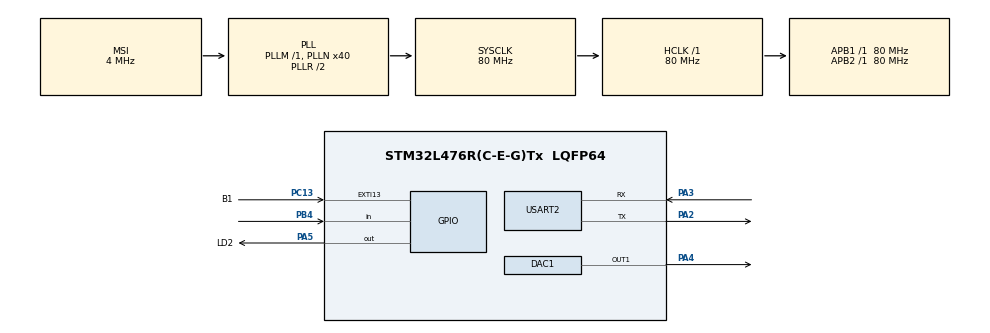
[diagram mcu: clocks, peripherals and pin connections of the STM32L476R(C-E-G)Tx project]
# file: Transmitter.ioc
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DAC1.DAC_Trigger-DAC_OUT1=DAC_TRIGGER_T7_TRGO
Dma.DAC_CH1.0.Direction=DMA_MEMORY_TO_PERIPH
Dma.DAC_CH1.0.Instance=DMA1_Channel3
Dma.DAC_CH1.0.MemDataAlignment=DMA_MDATAALIGN_HALFWORD
Dma.DAC_CH1.0.MemInc=DMA_MINC_ENABLE
Dma.DAC_CH1.0.Mode=DMA_CIRCULAR
Dma.DAC_CH1.0.PeriphDataAlignment=DMA_PDATAALIGN_HALFWORD
Dma.DAC_CH1.0.PeriphInc=DMA_PINC_DISABLE
Dma.DAC_CH1.0.Priority=DMA_PRIORITY_HIGH
Dma.Request0=DAC_CH1
Mcu.Family=STM32L4
Mcu.Name=STM32L476R(C-E-G)Tx
Mcu.Package=LQFP64
NVIC.DMA1_Channel3_IRQn=true\:0\:0\:false\:false\:true\:false\:true\:true
NVIC.EXTI15_10_IRQn=true\:0\:0\:false\:false\:true\:true\:true\:true
NVIC.PriorityGroup=NVIC_PRIORITYGROUP_4
NVIC.TIM6_DAC_IRQn=true\:2\:0\:true\:false\:true\:true\:true\:true
PA13\ (JTMS-SWDIO).Mode=Serial_Wire
PA13\ (JTMS-SWDIO).Signal=SYS_JTMS-SWDIO
PA14\ (JTCK-SWCLK).Mode=Serial_Wire
PA14\ (JTCK-SWCLK).Signal=SYS_JTCK-SWCLK
PA2.Mode=Asynchronous
PA2.Signal=USART2_TX
PA3.Mode=Asynchronous
PA3.Signal=USART2_RX
PA4.Signal=COMP_DAC11_group
PA5.GPIO_Label=LD2
PA5.Signal=GPIO_Output
PB4\ (NJTRST).Signal=GPIO_Input
PC13.GPIO_Label=B1
PC13.GPIO_ModeDefaultEXTI=GPIO_MODE_IT_FALLING
PC13.GPIO_PuPd=GPIO_PULLUP
PC13.Signal=GPXTI13
PC14-OSC32_IN\ (PC14).Mode=LSE-External-Oscillator
PC14-OSC32_IN\ (PC14).Signal=RCC_OSC32_IN
PC15-OSC32_OUT\ (PC15).Mode=LSE-External-Oscillator
PC15-OSC32_OUT\ (PC15).Signal=RCC_OSC32_OUT
ProjectManager.HeapSize=0x200
ProjectManager.StackSize=0x400
ProjectManager.TargetToolchain=STM32CubeIDE
RCC.ADCFreq_Value=16000000
RCC.AHBFreq_Value=80000000
RCC.APB1Freq_Value=80000000
RCC.APB1TimFreq_Value=80000000
RCC.APB2Freq_Value=80000000
RCC.APB2TimFreq_Value=80000000
RCC.CortexFreq_Value=80000000
RCC.HCLKFreq_Value=80000000
RCC.HSE_VALUE=8000000
RCC.HSI_VALUE=16000000
RCC.MSI_VALUE=4000000
RCC.PLLN=40
RCC.PREFETCH_ENABLE=1
RCC.SYSCLKFreq_VALUE=80000000
RCC.SYSCLKSource=RCC_SYSCLKSOURCE_PLLCLK
RCC.USBFreq_Value=16000000
RCC.VCOOutputFreq_Value=160000000
SH.COMP_DAC11_group.0=DAC1_OUT1,DAC_OUT1
TIM6.Period=399
TIM6.Prescaler=9999
TIM7.Period=399
TIM7.TIM_MasterOutputTrigger=TIM_TRGO_UPDATE
USART2.VirtualMode-Asynchronous=VM_ASYNC
VP_TIM6_VS_ClockSourceINT.Mode=Enable_Timer
VP_TIM7_VS_ClockSourceINT.Mode=Enable_Timer
board=NUCLEO-L476RG

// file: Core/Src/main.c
/* USER CODE BEGIN Header */
/**
 ******************************************************************************
 * @file           : main.c
 * @brief          : IBC transmitter (BFSK/OOK)
 ******************************************************************************
 *
 * BER_TEST_MODE: 1 = BER stream (PRBS-9 + Barker-13), 0 = packet mode.
 * BPS_MODE 20/40/100, MOD_MODE 0 = BFSK / 1 = OOK. Same values on RX.
 *
 * NUCLEO-L476RG @ 80 MHz. DAC1 OUT1 (PA4) -> signal electrode, GND ->
 * return electrode. TIM7 200 kHz DAC trigger, TIM6 bit timer, USART2 log.
 *
 ******************************************************************************
 */
/* USER CODE END Header */
#include "main.h"

/* USER CODE BEGIN Includes */
#include <stdio.h>
#include <math.h>
#include <string.h>
/* USER CODE END Includes */

/* USER CODE BEGIN PD */
/* 1 = BER stream, 0 = packet mode */
#define BER_TEST_MODE   0

/* 1 = idle power bench (signal chain off, WFI) */
#ifndef POWER_IDLE_TEST
#define POWER_IDLE_TEST 0
#endif

#define PKT_TEST_COUNT     100u   /* frames per run */
#define PKT_GLUCOSE_MGDL   120u   /* payload, mg/dL */

/* bit rate: 20, 40 or 100 bps (same on RX) */
#ifndef BPS_MODE
#define BPS_MODE 20
#endif

/* 0 = BFSK (10/20 kHz), 1 = OOK (20 kHz, off = mid-scale) */
#ifndef MOD_MODE
#define MOD_MODE 1
#endif
#if MOD_MODE != 0 && MOD_MODE != 1
#error "MOD_MODE must be 0 (BFSK) or 1 (OOK)"
#endif

#if BPS_MODE == 20
  #define TIM6_PSC      9999u
  #define TIM6_ARR      399u    /* 10000*400 / 80MHz = 50.00 ms/bit -> 20 bps */
  #define BIT_PERIOD_US 50000u
#elif BPS_MODE == 40
  #define TIM6_PSC      9999u
  #define TIM6_ARR      199u    /* 10000*200 / 80MHz = 25.00 ms/bit -> 40 bps */
  #define BIT_PERIOD_US 25000u
#elif BPS_MODE == 100
  #define TIM6_PSC      9999u
  #define TIM6_ARR      79u     /* 10000*80 / 80MHz = 10.00 ms/bit -> 100 bps */
  #define BIT_PERIOD_US 10000u
#else
  #error "Unsupported BPS_MODE: choose 20, 40 or 100"
#endif

#define FS_DAC          200000u
#define F0              10000u
#define F1              20000u

#define SINE10_SAMPLES  (FS_DAC / F0)
#define SINE20_SAMPLES  (FS_DAC / F1)

static uint16_t sine10k[SINE10_SAMPLES];
static uint16_t sine20k[SINE20_SAMPLES];

/* 40 = integer periods of both tones -> phase-continuous swaps */
#define DMA_BUF_LEN     40u

static uint16_t dac_buf_10k[DMA_BUF_LEN];
static uint16_t dac_buf_20k[DMA_BUF_LEN];
#if MOD_MODE == 1
static uint16_t dac_buf_flat[DMA_BUF_LEN];  /* OOK carrier off */
#endif
static uint16_t dac_live[DMA_BUF_LEN];      /* DAC DMA source */
/* USER CODE END PD */

DAC_HandleTypeDef hdac1;
DMA_HandleTypeDef hdma_dac_ch1;

TIM_HandleTypeDef htim6;
TIM_HandleTypeDef htim7;

UART_HandleTypeDef huart2;

/* USER CODE BEGIN PV */
static volatile uint8_t tx_bit_level         = 1;
static volatile uint8_t tx_bit_level_applied = 1;

typedef enum {
    TX_IDLE,
    TX_IDLE1, TX_IDLE2, TX_IDLE3, TX_IDLE4,
    TX_START1, TX_START2,
    TX_DATA,
    TX_STOP1, TX_STOP2,
    TX_GAP1, TX_GAP2, TX_GAP3, TX_GAP4, TX_GAP5, TX_GAP6
} tx_state_t;

static volatile tx_state_t tx_st    = TX_IDLE;
static volatile uint8_t    tx_active  = 0;
static volatile uint8_t    tx_cur_byte = 0;
static volatile uint8_t    tx_bit_idx  = 0;

#define TXQ_SZ 128
static volatile uint8_t txq[TXQ_SZ];
static volatile uint8_t txq_head = 0, txq_tail = 0;

static int txq_push(uint8_t b)
{
    uint8_t n = (uint8_t)((txq_head + 1) % TXQ_SZ);
    if (n == txq_tail) return -1;
    txq[txq_head] = b;
    txq_head = n;
    return 0;
}

static int txq_pop(uint8_t *b)
{
    if (txq_head == txq_tail) return -1;
    *b = txq[txq_tail];
    txq_tail = (uint8_t)((txq_tail + 1) % TXQ_SZ);
    return 0;
}

static volatile uint32_t dbg_tick_count = 0;
/* USER CODE END PV */

void SystemClock_Config(void);
static void MX_GPIO_Init(void);
static void MX_DMA_Init(void);
static void MX_USART2_UART_Init(void);
static void MX_DAC1_Init(void);
static void MX_TIM7_Init(void);
static void MX_TIM6_Init(void);

/* USER CODE BEGIN 0 */

int __io_putchar(int ch)
{
    uint8_t c = (uint8_t)ch;
    HAL_UART_Transmit(&huart2, &c, 1, 10);
    return ch;
}

/* frame: 16x 0x55, sync 0xD3 0x91, LEN, SEQ, payload, CRC-16/CCITT-FALSE */
#define PREAMBLE_BYTE   0x55u
#define PREAMBLE_LEN    16u
#define SYNC1_BYTE      0xD3u
#define SYNC2_BYTE      0x91u

static uint16_t crc16_ccitt_false_update(uint16_t crc, uint8_t data)
{
    crc ^= (uint16_t)data << 8;
    for (int i = 0; i < 8; i++) {
        if (crc & 0x8000) crc = (uint16_t)((crc << 1) ^ 0x1021);
        else              crc = (uint16_t)(crc << 1);
    }
    return crc;
}

static uint16_t crc16_ccitt_false(const uint8_t *buf, uint32_t len)
{
    uint16_t crc = 0xFFFF;
    for (uint32_t i = 0; i < len; i++)
        crc = crc16_ccitt_false_update(crc, buf[i]);
    return crc;
}

static uint8_t tx_seq = 0;

static void tx_send_ibc_frame(uint8_t seq, const uint8_t *payload, uint8_t len)
{
    for (uint8_t i = 0; i < PREAMBLE_LEN; i++) txq_push(PREAMBLE_BYTE);

    txq_push(SYNC1_BYTE);
    txq_push(SYNC2_BYTE);
    txq_push(len);
    txq_push(seq);

    for (uint8_t i = 0; i < len; i++) txq_push(payload[i]);

    /* CRC over LEN..payload */
    uint8_t tmp[2 + 255];
    tmp[0] = len;
    tmp[1] = seq;
    for (uint8_t i = 0; i < len; i++) tmp[2 + i] = payload[i];
    uint16_t crc = crc16_ccitt_false(tmp, (uint32_t)(2u + len));
    txq_push((uint8_t)(crc & 0xFFu));
    txq_push((uint8_t)((crc >> 8) & 0xFFu));

    if (!tx_active) {
        tx_active = 1;
        tx_st = TX_IDLE1;
    }
}

static void tx_apply_bit(void)
{
    if (tx_bit_level == tx_bit_level_applied) return;
    tx_bit_level_applied = tx_bit_level;

    /* in-place swap, DMA never stops (no underrun) */
#if MOD_MODE == 1
    const uint16_t *src = tx_bit_level ? dac_buf_20k : dac_buf_flat;
#else
    const uint16_t *src = tx_bit_level ? dac_buf_20k : dac_buf_10k;
#endif
    for (uint32_t i = 0; i < DMA_BUF_LEN; i++) dac_live[i] = src[i];
}

static inline void tx_set_bit(uint8_t b)
{
    tx_bit_level = b;
    tx_apply_bit();
}

#if BER_TEST_MODE
/* stream: 64-bit preamble + Barker-13 + 511-bit PRBS-9 (x^9+x^5+1) */

static uint16_t prbs9_state = 0x1FFu;
static uint8_t prbs9_next_bit(void)
{
    uint8_t out = (uint8_t)(((prbs9_state >> 8) ^ (prbs9_state >> 4)) & 1u);
    prbs9_state = (uint16_t)(((prbs9_state << 1) | out) & 0x1FFu);
    return out;
}

#define BER_PREAMBLE_BITS  64u
#define BER_BARKER_LEN     13u
#define BER_PRBS_BITS      511u
static const uint8_t barker13[BER_BARKER_LEN] = { 1,1,1,1,1,0,0,1,1,0,1,0,1 };

typedef enum { BER_PHASE_PREAMBLE = 0, BER_PHASE_BARKER, BER_PHASE_PRBS } ber_phase_t;
static volatile ber_phase_t ber_phase     = BER_PHASE_PREAMBLE;
static volatile uint32_t    ber_phase_cnt = 0;

static uint8_t ber_next_bit(void)
{
    uint8_t b = 0;
    switch (ber_phase) {
    case BER_PHASE_PREAMBLE:
        b = (uint8_t)(ber_phase_cnt & 1u);
        if (++ber_phase_cnt >= BER_PREAMBLE_BITS) {
            ber_phase = BER_PHASE_BARKER;
            ber_phase_cnt = 0;
        }
        break;
    case BER_PHASE_BARKER:
        b = barker13[ber_phase_cnt];
        if (++ber_phase_cnt >= BER_BARKER_LEN) {
            ber_phase = BER_PHASE_PRBS;
            ber_phase_cnt = 0;
            prbs9_state = 0x1FFu;   /* re-seed */
        }
        break;
    case BER_PHASE_PRBS:
    default:
        b = prbs9_next_bit();
        if (++ber_phase_cnt >= BER_PRBS_BITS) {
            ber_phase = BER_PHASE_PREAMBLE;
            ber_phase_cnt = 0;
        }
        break;
    }
    return b;
}
#endif /* BER_TEST_MODE */

/* one bit per TIM6 period */
static void tx_tick(void)
{
    dbg_tick_count++;
#if BER_TEST_MODE
    tx_set_bit(ber_next_bit());
    return;
#else
    switch (tx_st)
    {
    case TX_IDLE:
        tx_set_bit(1);
        tx_active = 0;
        break;
    case TX_IDLE1: tx_set_bit(1); tx_st = TX_IDLE2; break;
    case TX_IDLE2: tx_set_bit(1); tx_st = TX_IDLE3; break;
    case TX_IDLE3: tx_set_bit(1); tx_st = TX_IDLE4; break;
    case TX_IDLE4: tx_set_bit(1); tx_st = TX_START1; break;
    case TX_START1:
        tx_set_bit(0);
        tx_st = TX_START2;
        break;
    case TX_START2:
        tx_set_bit(0);
        if (txq_pop((uint8_t *)&tx_cur_byte) == 0) {
            tx_bit_idx = 0;
            tx_st = TX_DATA;
        } else {
            tx_st = TX_IDLE;
        }
        break;
    case TX_DATA: {
        uint8_t b = (uint8_t)((tx_cur_byte >> tx_bit_idx) & 1u);
        tx_set_bit(b);
        tx_bit_idx++;
        if (tx_bit_idx >= 8) tx_st = TX_STOP1;
    } break;
    case TX_STOP1: tx_set_bit(1); tx_st = TX_STOP2; break;
    case TX_STOP2: tx_set_bit(1); tx_st = TX_GAP1;  break;
    case TX_GAP1:  tx_set_bit(1); tx_st = TX_GAP2;  break;
    case TX_GAP2:  tx_set_bit(1); tx_st = TX_GAP3;  break;
    case TX_GAP3:  tx_set_bit(1); tx_st = TX_GAP4;  break;
    case TX_GAP4:  tx_set_bit(1); tx_st = TX_GAP5;  break;
    case TX_GAP5:  tx_set_bit(1); tx_st = TX_GAP6;  break;
    case TX_GAP6:  tx_set_bit(1); tx_st = TX_START1; break;
    }
#endif /* !BER_TEST_MODE */
}

static void build_sine_table(uint16_t *buf, uint32_t n_samples, uint16_t amplitude)
{
    const float mid = 2048.0f;
    for (uint32_t i = 0; i < n_samples; i++) {
        float s = sinf(2.0f * 3.14159265f * (float)i / (float)n_samples);
        float v = mid + (float)amplitude * s;
        if (v < 0.0f)    v = 0.0f;
        if (v > 4095.0f) v = 4095.0f;
        buf[i] = (uint16_t)v;
    }
}

/* USER CODE END 0 */

int main(void)
{

  /* MCU Configuration--------------------------------------------------------*/

  /* Reset of all peripherals, Initializes the Flash interface and the Systick. */
  HAL_Init();

  /* Configure the system clock */
  SystemClock_Config();

  /* Initialize all configured peripherals */
  MX_GPIO_Init();
  MX_DMA_Init();
  MX_USART2_UART_Init();
  MX_DAC1_Init();
  MX_TIM7_Init();
  MX_TIM6_Init();
  /* USER CODE BEGIN 2 */
    printf("\r\n\r\n=== TX Node - GC-IBC BFSK ===\r\n");
    printf("Clock: %s @ 80 MHz\r\n",
           __HAL_RCC_GET_FLAG(RCC_FLAG_LSERDY) ? "MSI+LSE (crystal, stable)"
                                               : "MSI free-run (LSE FAILED - clock drifts, DO NOT record)");
#if MOD_MODE == 1
    printf("OOK: 20 kHz carrier, on=bit1 off=bit0 (DAC held at 2048), %u bps (BPS_MODE=%u)\r\n",
           (unsigned)BPS_MODE, (unsigned)BPS_MODE);
#else
    printf("BFSK: 10 kHz=bit0, 20 kHz=bit1, %u bps (BPS_MODE=%u)\r\n",
           (unsigned)BPS_MODE, (unsigned)BPS_MODE);
#endif
    printf("Frame: 16x preamble + SYNC + LEN + SEQ + PAYLOAD + CRC16\r\n\r\n");

    build_sine_table(sine10k, SINE10_SAMPLES, 700);
    build_sine_table(sine20k, SINE20_SAMPLES, 700);
    for (uint32_t i = 0; i < DMA_BUF_LEN; i++) {
        dac_buf_10k[i] = sine10k[i % SINE10_SAMPLES];
        dac_buf_20k[i] = sine20k[i % SINE20_SAMPLES];
#if MOD_MODE == 1
        dac_buf_flat[i] = 2048u;            /* carrier off */
        dac_live[i]     = dac_buf_flat[i];
#else
        dac_live[i]    = dac_buf_10k[i];
#endif
    }

#if POWER_IDLE_TEST
    /* idle bench: nothing started, WFI */
    printf(">>> POWER_IDLE_TEST: DAC/DMA/TIM6/TIM7 OFF - MCU idle (WFI) <<<\r\n");
    while (1) { __WFI(); }
#endif

    /* DAC DMA: circular on dac_live, started once, never stopped */
    tx_bit_level = 0; tx_bit_level_applied = 0;
    HAL_DAC_Start_DMA(&hdac1, DAC_CHANNEL_1,
                      (uint32_t *)dac_live, DMA_BUF_LEN, DAC_ALIGN_12B_R);
    __HAL_DMA_DISABLE_IT(&hdma_dac_ch1, DMA_IT_HT | DMA_IT_TC);
    HAL_TIM_Base_Start(&htim7);

    /* bench tone test */
#if MOD_MODE == 1
    printf("Tone test: 1s carrier OFF...\r\n");
    tx_set_bit(0);
    HAL_Delay(1000);
    printf("Tone test: 1s carrier ON (20 kHz)...\r\n");
    tx_set_bit(1);
    HAL_Delay(1000);
#else
    printf("Tone test: 1s @ 10kHz...\r\n");
    tx_set_bit(0);
    HAL_Delay(1000);
    printf("Tone test: 1s @ 20kHz...\r\n");
    tx_set_bit(1);
    HAL_Delay(1000);
#endif

    tx_set_bit(1);
    tx_active = 0; tx_st = TX_IDLE;

    /* re-init TIM6 with the BPS_MODE period (CubeMX default is 20 bps) */
    htim6.Init.Prescaler = TIM6_PSC;
    htim6.Init.Period    = TIM6_ARR;
    if (HAL_TIM_Base_Init(&htim6) != HAL_OK) Error_Handler();

    HAL_TIM_Base_Start_IT(&htim6);

#if BER_TEST_MODE
    printf("TX BER MODE: BPS=%u preamble=%u barker=%u PRBS-9=%u bits, cycle=%u bits (%lu us)\r\n",
           (unsigned)BPS_MODE,
           (unsigned)BER_PREAMBLE_BITS, (unsigned)BER_BARKER_LEN, (unsigned)BER_PRBS_BITS,
           (unsigned)(BER_PREAMBLE_BITS + BER_BARKER_LEN + BER_PRBS_BITS),
           (unsigned long)((BER_PREAMBLE_BITS + BER_BARKER_LEN + BER_PRBS_BITS) * (unsigned long)BIT_PERIOD_US));
    uint32_t last_dbg = HAL_GetTick();
    while (1)
    {
        if (HAL_GetTick() - last_dbg >= 5000u) {
            last_dbg = HAL_GetTick();
            printf("TX DBG: ticks=%lu phase=%u cnt=%lu\r\n",
                   (unsigned long)dbg_tick_count,
                   (unsigned)ber_phase, (unsigned long)ber_phase_cnt);
        }
    }
#else
    /* send PKT_TEST_COUNT frames (uint16 LE payload), then idle */
    printf("TX started. Packet test: %u frames, payload=%u mg/dL (uint16 LE).\r\n\r\n",
           (unsigned)PKT_TEST_COUNT, (unsigned)PKT_GLUCOSE_MGDL);

    while (1)
    {
        if (!tx_active && tx_seq < PKT_TEST_COUNT) {
            HAL_Delay(100);
            const uint8_t msg[2] = {
                (uint8_t)(PKT_GLUCOSE_MGDL & 0xFFu),
                (uint8_t)((PKT_GLUCOSE_MGDL >> 8) & 0xFFu)
            };
            tx_send_ibc_frame(tx_seq, msg, sizeof(msg));
            tx_seq++;
            if (tx_seq == PKT_TEST_COUNT)
                printf("TX done: %u frames queued. Idle.\r\n", (unsigned)PKT_TEST_COUNT);
        }
    }
#endif /* BER_TEST_MODE */
  /* USER CODE END 2 */

  /* Infinite loop */
  while (1)
  {

  }
}

void SystemClock_Config(void)
{
  RCC_OscInitTypeDef RCC_OscInitStruct = {0};
  RCC_ClkInitTypeDef RCC_ClkInitStruct = {0};

  /** Configure the main internal regulator output voltage
  */
  if (HAL_PWREx_ControlVoltageScaling(PWR_REGULATOR_VOLTAGE_SCALE1) != HAL_OK)
  {
    Error_Handler();
  }

  /** Configure LSE Drive Capability
  * (high drive + backup-domain reset, LSE fails to start otherwise)
  */
  HAL_PWR_EnableBkUpAccess();
  __HAL_RCC_BACKUPRESET_FORCE();
  __HAL_RCC_BACKUPRESET_RELEASE();
  __HAL_RCC_LSEDRIVE_CONFIG(RCC_LSEDRIVE_HIGH);

  /** Initializes the RCC Oscillators according to the specified parameters
  * in the RCC_OscInitTypeDef structure.
  */
  RCC_OscInitStruct.OscillatorType = RCC_OSCILLATORTYPE_LSE|RCC_OSCILLATORTYPE_MSI;
  RCC_OscInitStruct.LSEState = RCC_LSE_ON;
  RCC_OscInitStruct.MSIState = RCC_MSI_ON;
  RCC_OscInitStruct.MSICalibrationValue = 0;
  RCC_OscInitStruct.MSIClockRange = RCC_MSIRANGE_6;
  RCC_OscInitStruct.PLL.PLLState = RCC_PLL_ON;
  RCC_OscInitStruct.PLL.PLLSource = RCC_PLLSOURCE_MSI;
  RCC_OscInitStruct.PLL.PLLM = 1;
  RCC_OscInitStruct.PLL.PLLN = 40;
  RCC_OscInitStruct.PLL.PLLP = RCC_PLLP_DIV7;
  RCC_OscInitStruct.PLL.PLLQ = RCC_PLLQ_DIV2;
  RCC_OscInitStruct.PLL.PLLR = RCC_PLLR_DIV2;
  if (HAL_RCC_OscConfig(&RCC_OscInitStruct) != HAL_OK)
  {
    /* LSE failed: MSI-only fallback, clock drifts - do not record */
    RCC_OscInitStruct.OscillatorType = RCC_OSCILLATORTYPE_MSI;
    RCC_OscInitStruct.LSEState = RCC_LSE_OFF;
    if (HAL_RCC_OscConfig(&RCC_OscInitStruct) != HAL_OK)
    {
      Error_Handler();
    }
  }

  /** Initializes the CPU, AHB and APB buses clocks
  */
  RCC_ClkInitStruct.ClockType = RCC_CLOCKTYPE_HCLK|RCC_CLOCKTYPE_SYSCLK
                              |RCC_CLOCKTYPE_PCLK1|RCC_CLOCKTYPE_PCLK2;
  RCC_ClkInitStruct.SYSCLKSource = RCC_SYSCLKSOURCE_PLLCLK;
  RCC_ClkInitStruct.AHBCLKDivider = RCC_SYSCLK_DIV1;
  RCC_ClkInitStruct.APB1CLKDivider = RCC_HCLK_DIV1;
  RCC_ClkInitStruct.APB2CLKDivider = RCC_HCLK_DIV1;

  if (HAL_RCC_ClockConfig(&RCC_ClkInitStruct, FLASH_LATENCY_4) != HAL_OK)
  {
    Error_Handler();
  }

  /** Enable MSI Auto calibration (MSI locked to LSE) */
  if (__HAL_RCC_GET_FLAG(RCC_FLAG_LSERDY))
  {
    HAL_RCCEx_EnableMSIPLLMode();
  }
}

static void MX_DAC1_Init(void)
{

  DAC_ChannelConfTypeDef sConfig = {0};

  /** DAC Initialization
  */
  hdac1.Instance = DAC1;
  if (HAL_DAC_Init(&hdac1) != HAL_OK)
  {
    Error_Handler();
  }

  /** DAC channel OUT1 config
  */
  sConfig.DAC_SampleAndHold = DAC_SAMPLEANDHOLD_DISABLE;
  sConfig.DAC_Trigger = DAC_TRIGGER_T7_TRGO;
  sConfig.DAC_OutputBuffer = DAC_OUTPUTBUFFER_ENABLE;
  sConfig.DAC_ConnectOnChipPeripheral = DAC_CHIPCONNECT_DISABLE;
  sConfig.DAC_UserTrimming = DAC_TRIMMING_FACTORY;
  if (HAL_DAC_ConfigChannel(&hdac1, &sConfig, DAC_CHANNEL_1) != HAL_OK)
  {
    Error_Handler();
  }

}

static void MX_TIM6_Init(void)
{

  TIM_MasterConfigTypeDef sMasterConfig = {0};

  htim6.Instance = TIM6;
  htim6.Init.Prescaler = 9999;
  htim6.Init.CounterMode = TIM_COUNTERMODE_UP;
  htim6.Init.Period = 399;
  htim6.Init.AutoReloadPreload = TIM_AUTORELOAD_PRELOAD_DISABLE;
  if (HAL_TIM_Base_Init(&htim6) != HAL_OK)
  {
    Error_Handler();
  }
  sMasterConfig.MasterOutputTrigger = TIM_TRGO_RESET;
  sMasterConfig.MasterSlaveMode = TIM_MASTERSLAVEMODE_DISABLE;
  if (HAL_TIMEx_MasterConfigSynchronization(&htim6, &sMasterConfig) != HAL_OK)
  {
    Error_Handler();
  }

}

static void MX_TIM7_Init(void)
{

  TIM_MasterConfigTypeDef sMasterConfig = {0};

  htim7.Instance = TIM7;
  htim7.Init.Prescaler = 0;
  htim7.Init.CounterMode = TIM_COUNTERMODE_UP;
  htim7.Init.Period = 399;
  htim7.Init.AutoReloadPreload = TIM_AUTORELOAD_PRELOAD_DISABLE;
  if (HAL_TIM_Base_Init(&htim7) != HAL_OK)
  {
    Error_Handler();
  }
  sMasterConfig.MasterOutputTrigger = TIM_TRGO_UPDATE;
  sMasterConfig.MasterSlaveMode = TIM_MASTERSLAVEMODE_DISABLE;
  if (HAL_TIMEx_MasterConfigSynchronization(&htim7, &sMasterConfig) != HAL_OK)
  {
    Error_Handler();
  }

}

static void MX_USART2_UART_Init(void)
{

  huart2.Instance = USART2;
  huart2.Init.BaudRate = 115200;
  huart2.Init.WordLength = UART_WORDLENGTH_8B;
  huart2.Init.StopBits = UART_STOPBITS_1;
  huart2.Init.Parity = UART_PARITY_NONE;
  huart2.Init.Mode = UART_MODE_TX_RX;
  huart2.Init.HwFlowCtl = UART_HWCONTROL_NONE;
  huart2.Init.OverSampling = UART_OVERSAMPLING_16;
  huart2.Init.OneBitSampling = UART_ONE_BIT_SAMPLE_DISABLE;
  huart2.AdvancedInit.AdvFeatureInit = UART_ADVFEATURE_NO_INIT;
  if (HAL_UART_Init(&huart2) != HAL_OK)
  {
    Error_Handler();
  }

}

static void MX_DMA_Init(void)
{

  /* DMA controller clock enable */
  __HAL_RCC_DMA1_CLK_ENABLE();

  /* DMA interrupt init */
  /* DMA1_Channel3_IRQn interrupt configuration */
  HAL_NVIC_SetPriority(DMA1_Channel3_IRQn, 0, 0);
  HAL_NVIC_EnableIRQ(DMA1_Channel3_IRQn);

}

static void MX_GPIO_Init(void)
{
  GPIO_InitTypeDef GPIO_InitStruct = {0};

  /* GPIO Ports Clock Enable */
  __HAL_RCC_GPIOC_CLK_ENABLE();
  __HAL_RCC_GPIOA_CLK_ENABLE();
  __HAL_RCC_GPIOB_CLK_ENABLE();

  /*Configure GPIO pin Output Level */
  HAL_GPIO_WritePin(LD2_GPIO_Port, LD2_Pin, GPIO_PIN_RESET);

  /*Configure GPIO pin : B1_Pin */
  GPIO_InitStruct.Pin = B1_Pin;
  GPIO_InitStruct.Mode = GPIO_MODE_IT_FALLING;
  GPIO_InitStruct.Pull = GPIO_PULLUP;
  HAL_GPIO_Init(B1_GPIO_Port, &GPIO_InitStruct);

  /*Configure GPIO pin : LD2_Pin */
  GPIO_InitStruct.Pin = LD2_Pin;
  GPIO_InitStruct.Mode = GPIO_MODE_OUTPUT_PP;
  GPIO_InitStruct.Pull = GPIO_NOPULL;
  GPIO_InitStruct.Speed = GPIO_SPEED_FREQ_LOW;
  HAL_GPIO_Init(LD2_GPIO_Port, &GPIO_InitStruct);

  /*Configure GPIO pin : PB4 */
  GPIO_InitStruct.Pin = GPIO_PIN_4;
  GPIO_InitStruct.Mode = GPIO_MODE_INPUT;
  GPIO_InitStruct.Pull = GPIO_NOPULL;
  HAL_GPIO_Init(GPIOB, &GPIO_InitStruct);

  /* EXTI interrupt init*/
  HAL_NVIC_SetPriority(EXTI15_10_IRQn, 0, 0);
  HAL_NVIC_EnableIRQ(EXTI15_10_IRQn);

}

/* USER CODE BEGIN 4 */

/* TIM6 update ISR: advance the bit-level TX state machine */
void HAL_TIM_PeriodElapsedCallback(TIM_HandleTypeDef *htim)
{
    if (htim->Instance == TIM6) tx_tick();
}

/* USER CODE END 4 */

void Error_Handler(void)
{
  __disable_irq();
  while (1)
  {
  }
}
